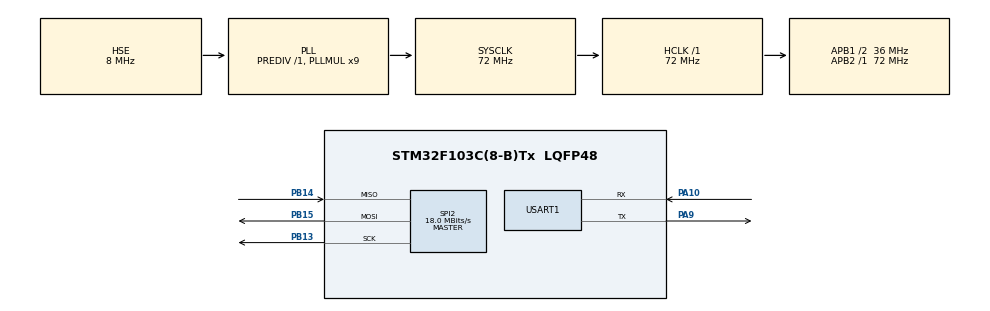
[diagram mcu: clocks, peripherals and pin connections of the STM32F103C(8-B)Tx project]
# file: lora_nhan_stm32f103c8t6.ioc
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Mcu.Family=STM32F1
Mcu.Name=STM32F103C(8-B)Tx
Mcu.Package=LQFP48
NVIC.PriorityGroup=NVIC_PRIORITYGROUP_4
PA10.Mode=Asynchronous
PA10.Signal=USART1_RX
PA9.Mode=Asynchronous
PA9.Signal=USART1_TX
PB13.Mode=Full_Duplex_Master
PB13.Signal=SPI2_SCK
PB14.Mode=Full_Duplex_Master
PB14.Signal=SPI2_MISO
PB15.Mode=Full_Duplex_Master
PB15.Signal=SPI2_MOSI
PD0-OSC_IN.Mode=HSE-External-Oscillator
PD0-OSC_IN.Signal=RCC_OSC_IN
PD1-OSC_OUT.Mode=HSE-External-Oscillator
PD1-OSC_OUT.Signal=RCC_OSC_OUT
ProjectManager.HeapSize=0x200
ProjectManager.StackSize=0x400
ProjectManager.TargetToolchain=STM32CubeIDE
RCC.AHBFreq_Value=72000000
RCC.APB1CLKDivider=RCC_HCLK_DIV2
RCC.APB1Freq_Value=36000000
RCC.APB1TimFreq_Value=72000000
RCC.APB2Freq_Value=72000000
RCC.APB2TimFreq_Value=72000000
RCC.HCLKFreq_Value=72000000
RCC.PLLMUL=RCC_PLL_MUL9
RCC.PLLSourceVirtual=RCC_PLLSOURCE_HSE
RCC.SYSCLKFreq_VALUE=72000000
RCC.SYSCLKSource=RCC_SYSCLKSOURCE_PLLCLK
RCC.USBFreq_Value=72000000
SPI2.CalculateBaudRate=18.0 MBits/s
SPI2.Direction=SPI_DIRECTION_2LINES
SPI2.Mode=SPI_MODE_MASTER
SPI2.VirtualType=VM_MASTER
USART1.VirtualMode=VM_ASYNC
VP_SYS_VS_ND.Mode=No_Debug
board=custom

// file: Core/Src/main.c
/* USER CODE BEGIN Header */
/**
  ******************************************************************************
  * @file           : main.c
  * @brief          : Main program body
  ******************************************************************************
  * @attention
  *
  * Copyright (c) 2024 STMicroelectronics.
  * All rights reserved.
  *
  * This software is licensed under terms that can be found in the LICENSE file
  * in the root directory of this software component.
  * If no LICENSE file comes with this software, it is provided AS-IS.
  *
  ******************************************************************************
  */
/* USER CODE END Header */
#include "main.h"

/* USER CODE BEGIN Includes */
#include "gpio.h"
#include <stdio.h>
#include "SX1278.h"
#include "send.h"
#include <string.h>

/* USER CODE END Includes */

SPI_HandleTypeDef hspi2;

UART_HandleTypeDef huart1;

void SystemClock_Config(void);
//static void MX_GPIO_Init(void);
static void MX_SPI2_Init(void);
static void MX_USART1_UART_Init(void);

/* USER CODE BEGIN 0 */

SX1278_hw_t SX1278_hw;
SX1278_t SX1278;

typedef struct
{
	int master;
	int ret;

	int message;
	int message_length;

	size_t arraySize;

	int pitch;
	int yaw;
	int roll;

	char buffer[512];
}Receive;

Receive recv;

/* USER CODE END 0 */

int main(void)
{

  /* MCU Configuration--------------------------------------------------------*/

  /* Reset of all peripherals, Initializes the Flash interface and the Systick. */
  HAL_Init();

  /* Configure the system clock */
  SystemClock_Config();

  /* Initialize all configured peripherals */
  MX_GPIO_Init();
  MX_SPI2_Init();
  MX_USART1_UART_Init();
  /* USER CODE BEGIN 2 */
  initUART1();
  char buf[100];
  HAL_Delay(5000);
  //SendKyTu(buf, "Mode slave");

  //initialize LoRa module
  SX1278_hw.dio0.port = DIO0_GPIO_Port;
  SX1278_hw.dio0.pin = DIO0_Pin;
  SX1278_hw.nss.port = NSS_GPIO_Port;
  SX1278_hw.nss.pin = NSS_Pin;
  SX1278_hw.reset.port = RESET_GPIO_Port;
  SX1278_hw.reset.pin = RESET_Pin;
  SX1278_hw.spi = &hspi2;

  SX1278.hw = &SX1278_hw;

  SendKyTu(buf, "configuring lora module");
  SX1278_init(&SX1278, 434000000, SX1278_POWER_17DBM, SX1278_LORA_SF_7,
  SX1278_LORA_BW_125KHZ, SX1278_LORA_CR_4_5, SX1278_LORA_CRC_EN, 10);

  HAL_Delay(3000);

  SendKyTu(buf, "done configure lora");

  recv.ret = SX1278_LoRaEntryRx(&SX1278, 16, 2000);

  const char p='p';
  const char y='y';
  const char r='r';
  char *ptr;

  /* USER CODE END 2 */

  /* Infinite loop */
  /* USER CODE BEGIN WHILE */
  while (1)
  {
	  //SendKyTu(buf, "Slaveing....");
	  HAL_Delay(800);
	  //SendKyTu(buf, "receving package...");
	  recv.ret = SX1278_LoRaRxPacket(&SX1278);

	  //sendNumberAndChu(buf, "received: ", recv.ret);

	  if(recv.ret>0)
	  {
		  SX1278_read(&SX1278, (uint8_t*) recv.buffer, recv.ret);
		  sprintf(buf,"%s\n",recv.buffer);
		  HAL_UART_Transmit(&huart1, buf, strlen(buf), HAL_MAX_DELAY);
		  //SendKyTu(buf, recv.buffer);

		  //ptr=strchr(buf,p);
//		  ptr = strchr(recv.buffer,p);
//
//		  if(ptr != NULL)
//		  {
//			  recv.arraySize=strlen(ptr+2);
//			  char Data[recv.arraySize+1];
//			  strncpy(Data,ptr+2,recv.arraySize);
//			  recv.pitch=atoi(Data);
//
//
//		  }
//
//		  //ptr=strchr(buf,y);
//		  ptr = strchr(recv.buffer,y);
//		  if(ptr != NULL)
//		  {
//			  recv.arraySize=strlen(ptr+2);
//			  char Data[recv.arraySize+1];
//			  strncpy(Data,ptr+2,recv.arraySize);
//			  recv.yaw=atoi(Data);
//
//		  }
//
//		  //ptr=strchr(buf,r);
//		  ptr = strchr(recv.buffer,r);
//		  if(ptr != NULL)
//		  {
//			  recv.arraySize=strlen(ptr+2);
//			  char Data[recv.arraySize+1];
//			  strncpy(Data,ptr+2,recv.arraySize);
//			  recv.roll=atoi(Data);
//
//		  }
//		  sprintf(buf,"pitch: %d\n",recv.pitch);
//		  HAL_UART_Transmit(&huart1, buf, strlen(buf), HAL_MAX_DELAY);
//
//		  sprintf(buf,"yaw: %d\n",recv.yaw);
//		  HAL_UART_Transmit(&huart1, buf, strlen(buf), HAL_MAX_DELAY);
//
//
//		  sprintf(buf,"roll: %d\n",recv.roll);
//		  HAL_UART_Transmit(&huart1, buf, strlen(buf), HAL_MAX_DELAY);

//		  sendNumberAndChu(buf, "pitch: ", recv.pitch);
//		  sendNumberAndChu(buf, "yaw: ", recv.yaw);
//		  sendNumberAndChu(buf, "roll: ", recv.roll);

		  //sendNumber(buf, recv.ret);

	  }
	  //SendKyTu(buf, "package received..");

    /* USER CODE END WHILE */

  }
}

void SystemClock_Config(void)
{
  RCC_OscInitTypeDef RCC_OscInitStruct = {0};
  RCC_ClkInitTypeDef RCC_ClkInitStruct = {0};

  /** Initializes the RCC Oscillators according to the specified parameters
  * in the RCC_OscInitTypeDef structure.
  */
  RCC_OscInitStruct.OscillatorType = RCC_OSCILLATORTYPE_HSE;
  RCC_OscInitStruct.HSEState = RCC_HSE_ON;
  RCC_OscInitStruct.HSEPredivValue = RCC_HSE_PREDIV_DIV1;
  RCC_OscInitStruct.HSIState = RCC_HSI_ON;
  RCC_OscInitStruct.PLL.PLLState = RCC_PLL_ON;
  RCC_OscInitStruct.PLL.PLLSource = RCC_PLLSOURCE_HSE;
  RCC_OscInitStruct.PLL.PLLMUL = RCC_PLL_MUL9;
  if (HAL_RCC_OscConfig(&RCC_OscInitStruct) != HAL_OK)
  {
    Error_Handler();
  }

  /** Initializes the CPU, AHB and APB buses clocks
  */
  RCC_ClkInitStruct.ClockType = RCC_CLOCKTYPE_HCLK|RCC_CLOCKTYPE_SYSCLK
                              |RCC_CLOCKTYPE_PCLK1|RCC_CLOCKTYPE_PCLK2;
  RCC_ClkInitStruct.SYSCLKSource = RCC_SYSCLKSOURCE_PLLCLK;
  RCC_ClkInitStruct.AHBCLKDivider = RCC_SYSCLK_DIV1;
  RCC_ClkInitStruct.APB1CLKDivider = RCC_HCLK_DIV2;
  RCC_ClkInitStruct.APB2CLKDivider = RCC_HCLK_DIV1;

  if (HAL_RCC_ClockConfig(&RCC_ClkInitStruct, FLASH_LATENCY_2) != HAL_OK)
  {
    Error_Handler();
  }
}

static void MX_SPI2_Init(void)
{

  /* SPI2 parameter configuration*/
  hspi2.Instance = SPI2;
  hspi2.Init.Mode = SPI_MODE_MASTER;
  hspi2.Init.Direction = SPI_DIRECTION_2LINES;
  hspi2.Init.DataSize = SPI_DATASIZE_8BIT;
  hspi2.Init.CLKPolarity = SPI_POLARITY_LOW;
  hspi2.Init.CLKPhase = SPI_PHASE_1EDGE;
  hspi2.Init.NSS = SPI_NSS_SOFT;
  hspi2.Init.BaudRatePrescaler = SPI_BAUDRATEPRESCALER_2;
  hspi2.Init.FirstBit = SPI_FIRSTBIT_MSB;
  hspi2.Init.TIMode = SPI_TIMODE_DISABLE;
  hspi2.Init.CRCCalculation = SPI_CRCCALCULATION_DISABLE;
  hspi2.Init.CRCPolynomial = 10;
  if (HAL_SPI_Init(&hspi2) != HAL_OK)
  {
    Error_Handler();
  }

}

static void MX_USART1_UART_Init(void)
{

  huart1.Instance = USART1;
  huart1.Init.BaudRate = 115200;
  huart1.Init.WordLength = UART_WORDLENGTH_8B;
  huart1.Init.StopBits = UART_STOPBITS_1;
  huart1.Init.Parity = UART_PARITY_NONE;
  huart1.Init.Mode = UART_MODE_TX_RX;
  huart1.Init.HwFlowCtl = UART_HWCONTROL_NONE;
  huart1.Init.OverSampling = UART_OVERSAMPLING_16;
  if (HAL_UART_Init(&huart1) != HAL_OK)
  {
    Error_Handler();
  }

}

//static void MX_GPIO_Init(void)
//{
///* USER CODE BEGIN MX_GPIO_Init_1 */
///* USER CODE END MX_GPIO_Init_1 */
//
//  /* GPIO Ports Clock Enable */
//  __HAL_RCC_GPIOD_CLK_ENABLE();
//  __HAL_RCC_GPIOB_CLK_ENABLE();
//  __HAL_RCC_GPIOA_CLK_ENABLE();
//
///* USER CODE BEGIN MX_GPIO_Init_2 */
///* USER CODE END MX_GPIO_Init_2 */
//}

void Error_Handler(void)
{
  __disable_irq();
  while (1)
  {
  }
}
